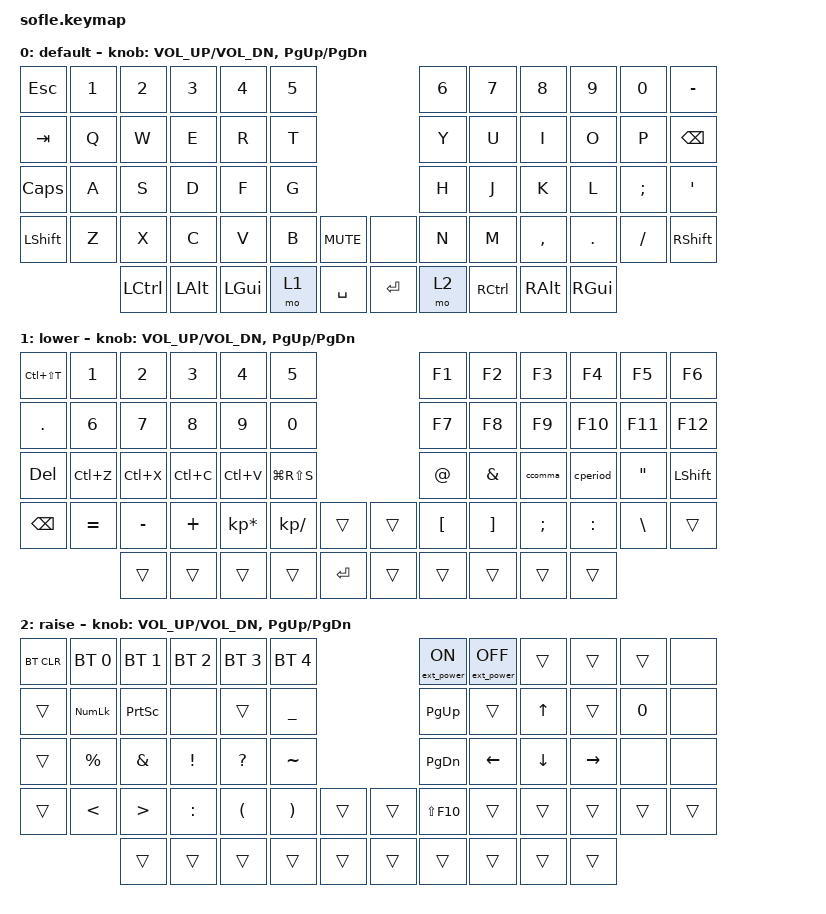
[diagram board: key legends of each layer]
/*
 * Copyright (c) 2020 The ZMK Contributors
 *
 * SPDX-License-Identifier: MIT
 */

#include <behaviors.dtsi>
#include <dt-bindings/zmk/bt.h>
#include <dt-bindings/zmk/ext_power.h>
#include <dt-bindings/zmk/keys.h>

#define BASE 0
#define LOWER 1
#define RAISE 2
#define ADJUST 3

/ {
    // Activate ADJUST layer by pressing raise and lower

    conditional_layers {
        compatible = "zmk,conditional-layers";

        adjust_layer {
            if-layers = <1 2>;
            then-layer = <3>;
        };
    };

    macros {
        ccomma: ccomma {
            compatible = "zmk,behavior-macro";
            #binding-cells = <0>;
            bindings = <&kp GRAVE &kp COMMA>;
            label = "CCOMMA";
        };

        cperiod: cperiod {
            compatible = "zmk,behavior-macro";
            #binding-cells = <0>;
            bindings = <&kp GRAVE &kp PERIOD>;
            label = "CPERIOD";
        };
    };

    keymap {
        compatible = "zmk,keymap";

        default_layer {
            display-name = "default";

            // ------------------------------------------------------------------------------------------------------------
            // |   `   |  1  |  2  |  3   |  4   |  5   |                   |  6   |  7    |  8    |  9   |   0   |       |
            // |  ESC  |  Q  |  W  |  E   |  R   |  T   |                   |  Y   |  U    |  I    |  O   |   P   | BKSPC |
            // |  TAB  |  A  |  S  |  D   |  F   |  G   |                   |  H   |  J    |  K    |  L   |   ;   |   '   |
            // | SHIFT |  Z  |  X  |  C   |  V   |  B   |  MUTE  |  |       |  N   |  M    |  ,    |  .   |   /   | SHIFT |
            //               | GUI | ALT  | CTRL | LOWER|  ENTER |  | SPACE | RAISE| CTRL  | ALT   | GUI  |

            bindings = <
&kp ESCAPE    &kp N1  &kp N2            &kp N3    &kp N4        &kp N5                           &kp N6  &kp N7     &kp N8     &kp N9    &kp N0    &kp MINUS
&kp TAB       &kp Q   &kp W             &kp E     &kp R         &kp T                            &kp Y   &kp U      &kp I      &kp O     &kp P     &kp BSPC
&kp CAPSLOCK  &kp A   &kp S             &kp D     &kp F         &kp G                            &kp H   &kp J      &kp K      &kp L     &kp SEMI  &kp SQT
&kp LSHFT     &kp Z   &kp X             &kp C     &kp V         &kp B   &kp C_MUTE    &none      &kp N   &kp M      &kp COMMA  &kp DOT   &kp FSLH  &kp RSHFT
                      &kp LEFT_CONTROL  &kp LALT  &kp LEFT_GUI  &mo 1   &kp SPACE     &kp ENTER  &mo 2   &kp RCTRL  &kp RALT   &kp RGUI
            >;

            sensor-bindings = <&inc_dec_kp C_VOL_UP C_VOL_DN &inc_dec_kp PG_UP PG_DN>;
        };

        lower_layer {
            display-name = "lower";

            // TODO: Some binds are waiting for shifted keycode support.
            // ------------------------------------------------------------------------------------------------------------
            // |       |  F1 |  F2 |  F3  |  F4  |  F5  |                   |  F6  |  F7   |  F8   |  F9  |  F10  |  F11  |
            // |   `   |  1  |  2  |  3   |  4   |  5   |                   |  6   |  7    |  8    |  9   |   0   |  F12  |
            // |       |  !  |  @  |  #   |  $   |  %   |                   |  ^   |  &    |  *    |  (   |   )   |   |   |
            // |       |  =  |  -  |  +   |  {   |  }   |        |  |       |  [   |  ]    |  ;    |  :   |   \   |       |
            //               |     |      |      |      |        |  |       |      |       |       |      |

            bindings = <
&kp LC(LS(T))  &kp NUMBER_1  &kp NUMBER_2  &kp NUMBER_3  &kp NUMBER_4     &kp N5                              &kp F1       &kp F2    &kp F3    &kp F4     &kp F5    &kp F6
&kp DOT        &kp NUMBER_6  &kp N7        &kp N8        &kp N9           &kp N0                              &kp F7       &kp F8    &kp F9    &kp F10    &kp F11   &kp F12
&kp DEL        &kp LC(Z)     &kp LC(X)     &kp LC(C)     &kp LC(V)        &kp LG(RS(S))                       &kp AT_SIGN  &kp AMPS  &ccomma   &cperiod   &kp DQT   &kp LEFT_SHIFT
&kp BACKSPACE  &kp EQUAL     &kp MINUS     &kp PLUS      &kp KP_MULTIPLY  &kp KP_DIVIDE  &trans       &trans  &kp LBKT     &kp RBKT  &kp SEMI  &kp COLON  &kp BSLH  &trans
                             &trans        &trans        &trans           &trans         &kp ENTER    &trans  &trans       &trans    &trans    &trans
            >;

            sensor-bindings = <&inc_dec_kp C_VOL_UP C_VOL_DN &inc_dec_kp PG_UP PG_DN>;
        };

        raise_layer {
            display-name = "raise";

            // ------------------------------------------------------------------------------------------------------------
            // | BTCLR | BT1  | BT2  |  BT3  |  BT4  |  BT5 |                |      |      |       |      |       |       |
            // |       | INS  | PSCR | GUI   |       |      |                | PGUP |      |   ^   |      |       |       |
            // |       | ALT  | CTRL | SHIFT |       | CAPS |                | PGDN |   <- |   v   |  ->  |  DEL  | BKSPC |
            // |       | UNDO | CUT  | COPY  | PASTE |      |      |  |      |      |      |       |      |       |       |
            //                |      |       |       |      |      |  |      |      |      |       |      |

            bindings = <
&bt BT_CLR  &bt BT_SEL 0    &bt BT_SEL 1      &bt BT_SEL 2     &bt BT_SEL 3  &bt BT_SEL 4                      &ext_power EP_ON  &ext_power EP_OFF  &trans    &trans     &trans  &none
&trans      &kp KP_NUMLOCK  &kp PSCRN         &none            &trans        &kp UNDERSCORE                    &kp PG_UP         &trans             &kp UP    &trans     &kp N0  &none
&trans      &kp PERCENT     &kp AMPERSAND     &kp EXCLAMATION  &kp QUESTION  &kp TILDE                         &kp PG_DN         &kp LEFT           &kp DOWN  &kp RIGHT  &none   &none
&trans      &kp LESS_THAN   &kp GREATER_THAN  &kp COLON        &kp LPAR      &kp RPAR        &trans    &trans  &kp LS(F10)       &trans             &trans    &trans     &trans  &trans
                            &trans            &trans           &trans        &trans          &trans    &trans  &trans            &trans             &trans    &trans
            >;

            sensor-bindings = <&inc_dec_kp C_VOL_UP C_VOL_DN &inc_dec_kp PG_UP PG_DN>;
        };
    };
};
 {
    chosen {
        zmk,display = &oled0;
    };

    oled0: ssd1306@3C {
        compatible = "solomon,ssd1306fb";
        reg = <0x3C>;
        label = "SSD1306";
    };
};
// Blaming zmk-sofle/config/sofle.keymap at fc006604a27dcb22cd39bf85572816986023dd64 · Vulpes22087/zmk-sofle
